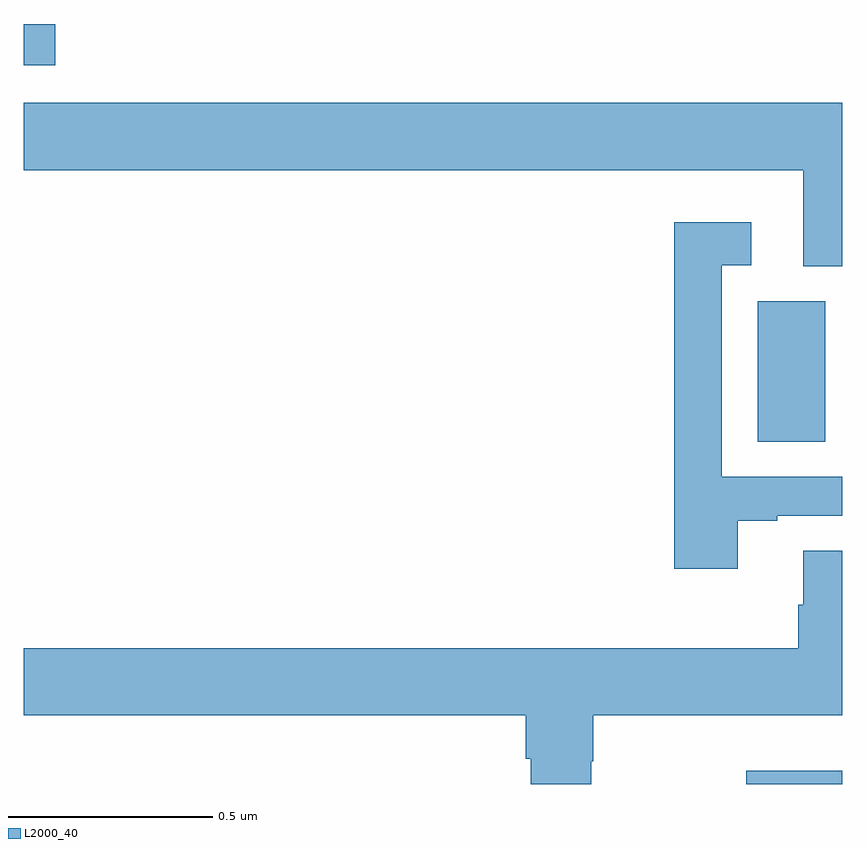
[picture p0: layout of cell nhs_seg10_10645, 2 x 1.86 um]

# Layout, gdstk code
import gdstk
lib = gdstk.Library(unit=1e-6, precision=1e-09)
def R(c, l, rs):  # rectangles x0, y0, x1, y1
    for r in rs: c.add(gdstk.rectangle(r[:2], r[2:], *l))
def P(c, l, *ps):  # polygons
    for p in ps: c.add(gdstk.Polygon(p, *l))
L2000_40 = (2000, 40)

nhs_seg10_10645 = lib.new_cell('nhs_seg10_10645')
R(nhs_seg10_10645, L2000_40, [(246.765,1281.5,247,1281.532), (246.794,1282.336,246.958,1282.68), (245,1283.256,245.077,1283.357)])
P(nhs_seg10_10645, L2000_40, [(247,1283.164),(245,1283.164),(245,1283),(246.905,1283),(246.905,1282.765),(247,1282.765)],
  [(246.745,1282.143),(246.841,1282.143),(246.841,1282.155),(247,1282.155),(247,1282.251),(246.705,1282.251),(246.705,1282.767),(246.778,1282.767),(246.778,1282.873),(246.589,1282.873),(246.589,1282.026),(246.745,1282.026)],
  [(246.387,1281.555),(246.392,1281.555),(246.392,1281.668),(247,1281.668),(247,1282.07),(246.905,1282.07),(246.905,1281.938),(246.893,1281.938),(246.893,1281.832),(245,1281.832),(245,1281.668),(246.227,1281.668),(246.227,1281.562),(246.239,1281.562),(246.239,1281.5),(246.387,1281.5)])

lib.write_gds('nhs_seg10_10645.gds')
